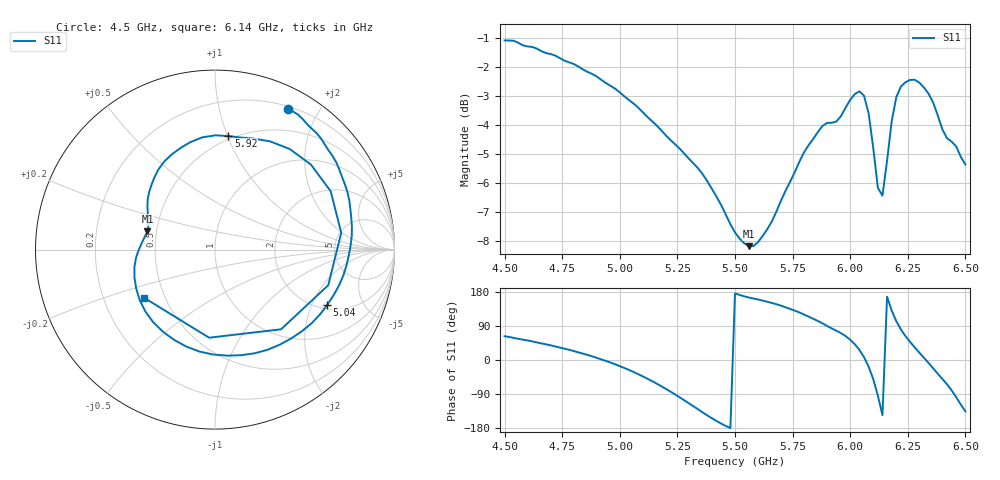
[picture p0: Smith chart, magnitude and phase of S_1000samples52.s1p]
! TOUCHSTONE file generated by CST MICROWAVE STUDIO
! Date and time: Wed Oct 26 20:08:36 2022
! Project name: L.cst
! Parameters = {Di=1.27; Epsilon_r=1.56; InnerDiameter=1.27; Length=2; Lf=10; Lg=60; OuterConductorThickness=0.2921; OuterDiameter=3.6; Wf=3; Wp=41.2; de=1.5; df=6.8; g=0.8; gx=2.30258; gy=1.27392; h=2.34; hf=1.524; px=10.678; py=13.0194; w=9.7; wx=8.37543; wy=11.7455}
! Header version: 2018
! Port assignment regex: !\s*Touchstone port\s*([0-9]+)\s*=\s*(CST MWS port|CST DS port)\s*([0-9]+|Zmin|Zmax)\s*\(\"(.*)\"\)(\s*mode\s*([0-9]+))?.*
! Touchstone port assignment:
! Touchstone port 1 = CST MWS port 1 ("")
# GHz S DB R 50
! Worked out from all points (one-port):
!   101 points, 4.5 GHz to 6.5 GHz, reference 50 ohm
!   lowest |S11| = -8.2 dB at 5.56 GHz (marker M1), VSWR 2.28, Z = 22.3 + j5.34 ohm
!   |S11| at or under -10 dB: nowhere
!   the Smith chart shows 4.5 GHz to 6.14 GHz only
!   S11 on the Smith chart (normalised r, x): 4.5 GHz: 0.23, +1.62; 5.04 GHz: 2.18, -2.62; 5.92 GHz: 0.47, +1.01; 6.14 GHz: 0.38, -0.27
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4.5  -1.07 62.7
4.76  -1.77 29.9
4.9  -2.32 5.7
5  -2.87 -16.2
5.04  -3.13 -26.3
5.16  -4.01 -62.3
5.26  -4.81 -98.6
5.38  -5.94 -146.3
5.5  -7.71 175.7
5.56  -8.18 164.9
5.76  -5.61 130.2
5.92  -3.91 83.2
6  -3.12 53.4
6.04  -2.83 26.7
6.06  -2.98 7.6
6.08  -3.59 -17.5
6.1  -4.78 -50.4
6.12  -6.16 -93.8
6.14  -6.43 -145.6
6.16  -5.23 167.1
6.18  -3.87 130.5
6.2  -3.03 102.5
6.22  -2.66 80.6
6.26  -2.44 47.7
6.3  -2.53 19.4
6.36  -3.22 -21.9
6.44  -4.57 -79.8
6.5  -5.36 -135.6
